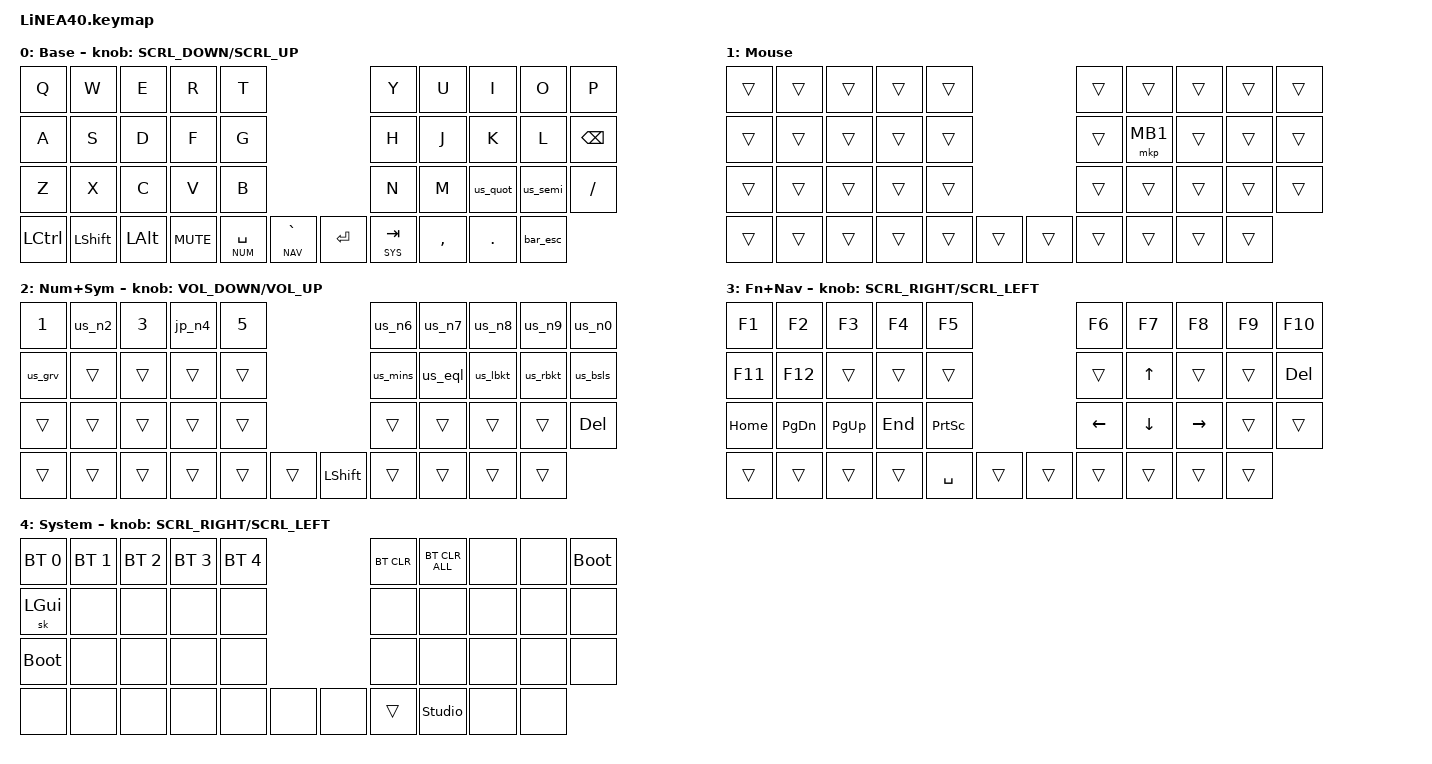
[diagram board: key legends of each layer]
#define ZMK_POINTING_DEFAULT_SCRL_VAL 150

#include <dt-bindings/zmk/input_transform.h>
#include <input/processors.dtsi>
#include <zephyr/dt-bindings/input/input-event-codes.h>
#include <behaviors.dtsi>
#include <dt-bindings/zmk/bt.h>
#include <dt-bindings/zmk/keys.h>
#include <dt-bindings/zmk/pointing.h>

#define BASE 0
#define MOUSE 1
#define NUM 2
#define NAV 3
#define SYS 4

//mouse cursol

&mmv {
    delay-ms = <20>;
    trigger-period-ms = <5>;
    time-to-max-speed-ms = <100>;
    acceleration-exponent = <2>;
};

//mouse scroll

&msc {
    delay-ms = <3>;
    trigger-period-ms = <3>;
    time-to-max-speed-ms = <100>;
    acceleration-exponent = <0>;
};

/ {
    input_processors {
        zip_wheel_scaler: zip_wheel_scaler {
            compatible = "zmk,input-processor-scaler";
            #input-processor-cells = <2>;
            type = <INPUT_EV_REL>;
            codes = <INPUT_REL_WHEEL>;
            track-remainders;
        };
    };
};

&trackball_listener {
    scroller {
        layers = <NUM>;
        input-processors =
            <&zip_xy_transform INPUT_TRANSFORM_Y_INVERT>,
            //スクロール方向を逆転
            <&zip_xy_to_scroll_mapper>;
    };
};

// PC is set to the Japanese (JIS) layout, keycaps are US-printed.
// MM() makes a key send the printed character with and without Shift.
#define MM(name, plain, shifted) \
    name: name { \
        compatible = "zmk,behavior-mod-morph"; \
        #binding-cells = <0>; \
        bindings = <plain>, <shifted>; \
        mods = <(MOD_LSFT|MOD_RSFT)>; \
    };

&lt {
    flavor = "balanced";
    tapping-term-ms = <200>;
    quick-tap-ms = <175>;
};

/ {
    combos {
        compatible = "zmk,combos";

        DeleteKey {
            bindings = <&kp DEL>;
            key-positions = <7 8>;
            layers = <BASE MOUSE>;
        };

        CenterClick {
            bindings = <&mkp MB3>;
            key-positions = <16 17>;
            layers = <BASE MOUSE>;
        };

        RightClick {
            bindings = <&mkp MB2>;
            key-positions = <17 18>;
            layers = <BASE MOUSE>;
        };

        PrevClick {
            bindings = <&mkp MB4>;
            key-positions = <27 28>;
            layers = <BASE MOUSE>;
        };

        ClickNext {
            bindings = <&mkp MB5>;
            key-positions = <26 27>;
            layers = <BASE MOUSE>;
        };
    };

    behaviors {
        re_kp: sensor_rotate_kp {
            compatible = "zmk,behavior-sensor-rotate-var";
            #sensor-binding-cells = <2>;
            bindings = <&kp>, <&kp>;
        };

        mouse_scrl: mouse_wheel_scrl {
            compatible = "zmk,behavior-sensor-rotate-var";
            #sensor-binding-cells = <2>;
            bindings = <&msc>, <&msc>;

            tap-ms = <20>;
        };

        //              plain          with Shift
        MM(us_quot, &kp LS(N7),    &kp LS(N2))     // '  "
        MM(us_semi, &kp SEMI,      &kp SQT)        // ;  :
        MM(us_n2,   &kp N2,        &kp LBKT)       // 2  @
        MM(jp_n4,   &kp N4,        &kp INT3)       // 4  yen sign (instead of $)
        MM(us_n6,   &kp N6,        &kp EQUAL)      // 6  ^
        MM(us_n7,   &kp N7,        &kp LS(N6))     // 7  &
        MM(us_n8,   &kp N8,        &kp LS(SQT))    // 8  *
        MM(us_n9,   &kp N9,        &kp LS(N8))     // 9  (
        MM(us_n0,   &kp N0,        &kp LS(N9))     // 0  )
        MM(us_grv,  &kp LS(LBKT),  &kp LS(EQUAL))  // `  ~
        MM(us_mins, &kp MINUS,     &kp LS(INT1))   // -  _
        MM(us_eql,  &kp LS(MINUS), &kp LS(SEMI))   // =  +
        MM(us_lbkt, &kp RBKT,      &kp LS(RBKT))   // [  {
        MM(us_rbkt, &kp BSLH,      &kp LS(BSLH))   // ]  }
        MM(us_bsls, &kp INT3,      &kp LS(INT3))   // \  |
        MM(bar_esc, &kp MINUS,     &kp ESC)        // long vowel mark (-), Shift = Esc
    };

    keymap {
        compatible = "zmk,keymap";

        // 0: letters as printed on the keycaps
        default_layer {
            display-name = "Base";
            bindings = <
&kp Q      &kp W      &kp E     &kp R       &kp T                                    &kp Y  &kp U  &kp I      &kp O     &kp P
&kp A      &kp S      &kp D     &kp F       &kp G                                    &kp H  &kp J  &kp K      &kp L     &kp BSPC
&kp Z      &kp X      &kp C     &kp V       &kp B                                    &kp N  &kp M  &us_quot   &us_semi  &kp SLASH
&kp LCTRL  &kp LSHFT  &kp LALT  &kp C_MUTE  &lt NUM SPACE  &lt NAV GRAVE     &kp ENTER      &lt SYS TAB      &kp COMMA  &kp DOT   &bar_esc
            >;

            sensor-bindings = <&mouse_scrl SCRL_DOWN SCRL_UP>;
        };

        // 1: switched on automatically while the trackball moves
        MOUSE {
            display-name = "Mouse";
            bindings = <
&trans  &trans  &trans  &trans  &trans                    &trans  &trans    &trans  &trans  &trans
&trans  &trans  &trans  &trans  &trans                    &trans  &mkp MB1  &trans  &trans  &trans
&trans  &trans  &trans  &trans  &trans                    &trans  &trans    &trans  &trans  &trans
&trans  &trans  &trans  &trans  &trans  &trans    &trans  &trans            &trans  &trans  &trans
            >;
        };

        // 2: hold the dot key (left thumb). Numbers and symbols. "go" becomes Shift.
        NUM {
            display-name = "Num+Sym";
            bindings = <
&kp N1   &us_n2  &kp N3  &jp_n4  &kp N5                      &us_n6    &us_n7   &us_n8    &us_n9    &us_n0
&us_grv  &trans  &trans  &trans  &trans                       &us_mins  &us_eql  &us_lbkt  &us_rbkt  &us_bsls
&trans   &trans  &trans  &trans  &trans                       &trans    &trans   &trans    &trans    &kp DEL
&trans   &trans  &trans  &trans  &trans  &trans    &kp LSHFT  &trans             &trans    &trans    &trans
            >;

            sensor-bindings = <&re_kp C_VOLUME_DOWN C_VOLUME_UP>;
        };

        // 3: hold the emoji key (left thumb, right of the dot key). F keys, cursor keys
        //    in an inverted T (J up, N left, M down, ' right), Home/PgDn/PgUp/End on Z X C V.
        NAV {
            display-name = "Fn+Nav";
            bindings = <
&kp F1   &kp F2   &kp F3  &kp F4  &kp F5                      &kp F6    &kp F7     &kp F8     &kp F9     &kp F10
&kp F11  &kp F12  &trans  &trans  &trans                      &trans    &kp UP     &trans     &trans     &kp DEL
&kp HOME &kp PG_DN &kp PG_UP &kp END &kp PSCRN                &kp LEFT  &kp DOWN   &kp RIGHT  &trans     &trans
&trans   &trans   &trans  &trans  &kp SPACE  &trans    &trans  &trans              &trans     &trans     &trans
            >;

            sensor-bindings = <&mouse_scrl SCRL_RIGHT SCRL_LEFT>;
        };

        // 4: hold Tab. Bluetooth, ZMK Studio unlock, bootloader.
        SYS {
            display-name = "System";
            bindings = <
&bt BT_SEL 0  &bt BT_SEL 1  &bt BT_SEL 2  &bt BT_SEL 3  &bt BT_SEL 4                  &bt BT_CLR  &bt BT_CLR_ALL  &none           &none  &bootloader
&sk LGUI      &none         &none         &none         &none                         &none       &none           &none           &none  &none
&bootloader  &none         &none         &none         &none                         &none       &none           &none           &none  &none
&none         &none         &none         &none         &none         &none    &none  &trans                      &studio_unlock  &none  &none
            >;

            sensor-bindings = <&mouse_scrl SCRL_RIGHT SCRL_LEFT>;
        };
    };
};
